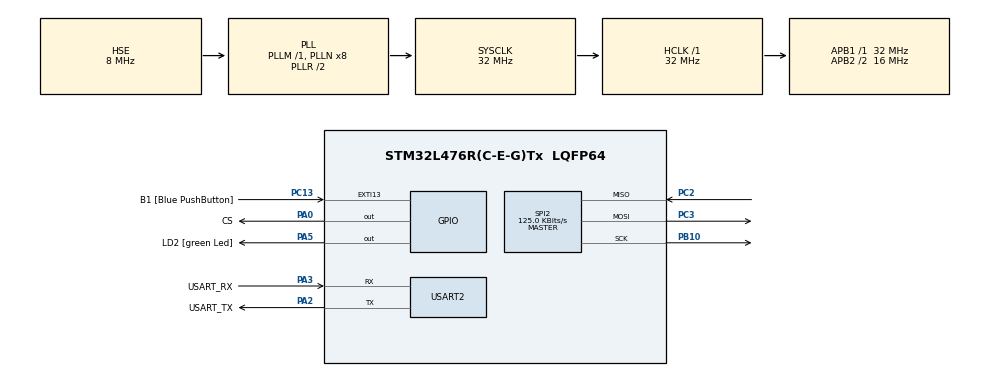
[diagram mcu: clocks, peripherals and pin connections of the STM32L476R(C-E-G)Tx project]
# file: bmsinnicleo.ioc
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Mcu.Family=STM32L4
Mcu.Name=STM32L476R(C-E-G)Tx
Mcu.Package=LQFP64
NVIC.PriorityGroup=NVIC_PRIORITYGROUP_4
NVIC.SPI2_IRQn=true\:0\:0\:false\:false\:true\:true\:true\:true
NVIC.TIM1_UP_TIM16_IRQn=true\:0\:0\:false\:false\:true\:true\:true\:true
NVIC.TIM7_IRQn=true\:0\:0\:false\:false\:true\:true\:true\:true
PA0.GPIO_Label=CS
PA0.Signal=GPIO_Output
PA13\ (JTMS-SWDIO).GPIO_Label=TMS
PA13\ (JTMS-SWDIO).Mode=Serial_Wire
PA13\ (JTMS-SWDIO).Signal=SYS_JTMS-SWDIO
PA14\ (JTCK-SWCLK).GPIO_Label=TCK
PA14\ (JTCK-SWCLK).Mode=Serial_Wire
PA14\ (JTCK-SWCLK).Signal=SYS_JTCK-SWCLK
PA2.GPIO_Label=USART_TX
PA2.GPIO_Mode=GPIO_MODE_AF_PP
PA2.GPIO_PuPd=GPIO_NOPULL
PA2.GPIO_Speed=GPIO_SPEED_FREQ_VERY_HIGH
PA2.Mode=Asynchronous
PA2.Signal=USART2_TX
PA3.GPIO_Label=USART_RX
PA3.GPIO_Mode=GPIO_MODE_AF_PP
PA3.GPIO_PuPd=GPIO_NOPULL
PA3.GPIO_Speed=GPIO_SPEED_FREQ_VERY_HIGH
PA3.Mode=Asynchronous
PA3.Signal=USART2_RX
PA5.GPIO_Label=LD2 [green Led]
PA5.GPIO_ModeDefaultOutputPP=GPIO_MODE_OUTPUT_PP
PA5.GPIO_PuPd=GPIO_NOPULL
PA5.GPIO_Speed=GPIO_SPEED_FREQ_LOW
PA5.Signal=GPIO_Output
PB10.Mode=Full_Duplex_Master
PB10.Signal=SPI2_SCK
PB3\ (JTDO-TRACESWO).GPIO_Label=SWO
PB3\ (JTDO-TRACESWO).Signal=SYS_JTDO-SWO
PC13.GPIO_Label=B1 [Blue PushButton]
PC13.GPIO_ModeDefaultEXTI=GPIO_MODE_IT_FALLING
PC13.GPIO_PuPd=GPIO_NOPULL
PC13.Signal=GPXTI13
PC14-OSC32_IN\ (PC14).Signal=RCC_OSC32_IN
PC15-OSC32_OUT\ (PC15).Signal=RCC_OSC32_OUT
PC2.Mode=Full_Duplex_Master
PC2.Signal=SPI2_MISO
PC3.Mode=Full_Duplex_Master
PC3.Signal=SPI2_MOSI
PH0-OSC_IN\ (PH0).Mode=HSE-External-Oscillator
PH0-OSC_IN\ (PH0).Signal=RCC_OSC_IN
PH1-OSC_OUT\ (PH1).Mode=HSE-External-Oscillator
PH1-OSC_OUT\ (PH1).Signal=RCC_OSC_OUT
ProjectManager.HeapSize=0x200
ProjectManager.StackSize=0x400
ProjectManager.TargetToolchain=STM32CubeIDE
RCC.ADCFreq_Value=32000000
RCC.AHBFreq_Value=32000000
RCC.APB1Freq_Value=32000000
RCC.APB1TimFreq_Value=32000000
RCC.APB2CLKDivider=RCC_HCLK_DIV2
RCC.APB2Freq_Value=16000000
RCC.APB2TimFreq_Value=32000000
RCC.CortexFreq_Value=32000000
RCC.HCLKFreq_Value=32000000
RCC.HSE_VALUE=8000000
RCC.HSI_VALUE=16000000
RCC.LSE_VALUE=32768
RCC.MSI_VALUE=4000000
RCC.PLLSourceVirtual=RCC_PLLSOURCE_HSE
RCC.PREFETCH_ENABLE=1
RCC.SYSCLKFreq_VALUE=32000000
RCC.SYSCLKSource=RCC_SYSCLKSOURCE_PLLCLK
RCC.USBFreq_Value=32000000
RCC.VCOOutputFreq_Value=64000000
SPI2.BaudRatePrescaler=SPI_BAUDRATEPRESCALER_256
SPI2.CLKPhase=SPI_PHASE_2EDGE
SPI2.CLKPolarity=SPI_POLARITY_HIGH
SPI2.CalculateBaudRate=125.0 KBits/s
SPI2.DataSize=SPI_DATASIZE_8BIT
SPI2.Direction=SPI_DIRECTION_2LINES
SPI2.Mode=SPI_MODE_MASTER
SPI2.VirtualType=VM_MASTER
TIM16.Period=4000-1
TIM16.Prescaler=31
TIM6.Prescaler=31
TIM7.Period=4000-1
TIM7.Prescaler=31
USART2.VirtualMode-Asynchronous=VM_ASYNC
VP_TIM16_VS_ClockSourceINT.Mode=Enable_Timer
VP_TIM6_VS_ClockSourceINT.Mode=Enable_Timer
VP_TIM7_VS_ClockSourceINT.Mode=Enable_Timer
board=NUCLEO-L476RG

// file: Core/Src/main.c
/* USER CODE BEGIN Header */
/**
  ******************************************************************************
  * @file           : main.c
  * @brief          : Main program body
  ******************************************************************************
  * @attention
  *
  * Copyright (c) 2025 STMicroelectronics.
  * All rights reserved.
  *
  * This software is licensed under terms that can be found in the LICENSE file
  * in the root directory of this software component.
  * If no LICENSE file comes with this software, it is provided AS-IS.
  *
  ******************************************************************************
  */
/* USER CODE END Header */
#include "main.h"

/* USER CODE BEGIN Includes */
#include "LTC6804.h"
/* USER CODE END Includes */

/* USER CODE BEGIN PD */
#define TOTAL_IC 1
/* USER CODE END PD */

SPI_HandleTypeDef hspi2;

TIM_HandleTypeDef htim6;
TIM_HandleTypeDef htim7;
TIM_HandleTypeDef htim16;

UART_HandleTypeDef huart2;

/* USER CODE BEGIN PV */

cell_asic bms_ic[TOTAL_IC];	//the cell_asic struct objects
//LTC CONFIGURATION VARIABLES
bool REFON = true; //!< Reference Powered Up Bit (true means Vref remains powered on between conversions)
bool ADCOPT = true; //!< ADC Mode option bit	(true chooses the second set of ADC frequencies)
bool gpioBits_a[5] = {false,false,false,false,false}; //!< GPIO Pin Control // Gpio 1,2,3,4,5 (false -> pull-down on)
bool dccBits_a[12] = {false,false,false,false,false,false,false,false,false,false,false,false}; //!< Discharge cell switch //Dcc 1,2,3,4,5,6,7,8,9,10,11,12 (all false -> no discharge enabled)
bool dctoBits[4] = {false, false, false, false}; //!< Discharge time value // Dcto 0,1,2,3	(all false -> discharge timer disabled)
float voltages[12];

// timer variables
uint8_t adc_on = 0;
uint8_t read_adc = 0;
/* USER CODE END PV */

void SystemClock_Config(void);
static void MX_GPIO_Init(void);
static void MX_USART2_UART_Init(void);
static void MX_SPI2_Init(void);
static void MX_TIM6_Init(void);
static void MX_TIM7_Init(void);
static void MX_TIM16_Init(void);
/* USER CODE BEGIN PFP */
void LTC6804_init(void);	//Initializes the LTC and the SPI communication
void HAL_TIM_PeriodElapsedCallback(TIM_HandleTypeDef *htim); //timer isr
/* USER CODE END PFP */

int main(void)
{

  /* MCU Configuration--------------------------------------------------------*/

  /* Reset of all peripherals, Initializes the Flash interface and the Systick. */
  HAL_Init();

  /* Configure the system clock */
  SystemClock_Config();

  /* Initialize all configured peripherals */
  MX_GPIO_Init();
  MX_USART2_UART_Init();
  MX_SPI2_Init();
  MX_TIM6_Init();
  MX_TIM7_Init();
  MX_TIM16_Init();
  /* USER CODE BEGIN 2 */
  HAL_TIM_Base_Start(&htim6);
  LTC6804_init();
  char msg[64];

  /* USER CODE END 2 */

  /* Infinite loop */
  /* USER CODE BEGIN WHILE */
  while (1)
  {
	  if(adc_on == 1){
		  wakeup_idle(TOTAL_IC);
		  LTC6804_adcv(MD_7KHZ_3KHZ, DCP_DISABLED, CELL_CH_ALL);
		  adc_on = 0;
	  }
	  if(read_adc == 1){
		  wakeup_idle(TOTAL_IC);
		  int error = LTC6804_rdcv(CELL_CH_ALL, TOTAL_IC, bms_ic);
		  for(int i=0;i<12;i++) {
		  		  voltages[i] = bms_ic[0].cells.c_codes[i] * 0.0001;
		  }
		  read_adc = 0;
	  }

	  sprintf(msg, "cell 1: %0.2f, cell 2: %0.2f, cell 3: %0.2f, "
	               "cell 4: %0.2f, cell 5: %0.2f, cell 6: %0.2f, "
	               "cell 7: %0.2f, cell 8: %0.2f, cell 9: %0.2f, "
	               "cell 10: %0.2f, cell 11: %0.2f, cell 12: %0.2f",
	          voltages[0], voltages[1], voltages[2],
	          voltages[3], voltages[4], voltages[5],
	          voltages[6], voltages[7], voltages[8],
	          voltages[9], voltages[10], voltages[11]);
	  HAL_UART_Transmit(&huart2, msg, strlen(msg), HAL_MAX_DELAY);
	  HAL_Delay(250);
	  /* USER CODE END WHILE */

  }
}

void SystemClock_Config(void)
{
  RCC_OscInitTypeDef RCC_OscInitStruct = {0};
  RCC_ClkInitTypeDef RCC_ClkInitStruct = {0};

  /** Configure the main internal regulator output voltage
  */
  if (HAL_PWREx_ControlVoltageScaling(PWR_REGULATOR_VOLTAGE_SCALE1) != HAL_OK)
  {
    Error_Handler();
  }

  /** Initializes the RCC Oscillators according to the specified parameters
  * in the RCC_OscInitTypeDef structure.
  */
  RCC_OscInitStruct.OscillatorType = RCC_OSCILLATORTYPE_HSE;
  RCC_OscInitStruct.HSEState = RCC_HSE_ON;
  RCC_OscInitStruct.PLL.PLLState = RCC_PLL_ON;
  RCC_OscInitStruct.PLL.PLLSource = RCC_PLLSOURCE_HSE;
  RCC_OscInitStruct.PLL.PLLM = 1;
  RCC_OscInitStruct.PLL.PLLN = 8;
  RCC_OscInitStruct.PLL.PLLP = RCC_PLLP_DIV7;
  RCC_OscInitStruct.PLL.PLLQ = RCC_PLLQ_DIV2;
  RCC_OscInitStruct.PLL.PLLR = RCC_PLLR_DIV2;
  if (HAL_RCC_OscConfig(&RCC_OscInitStruct) != HAL_OK)
  {
    Error_Handler();
  }

  /** Initializes the CPU, AHB and APB buses clocks
  */
  RCC_ClkInitStruct.ClockType = RCC_CLOCKTYPE_HCLK|RCC_CLOCKTYPE_SYSCLK
                              |RCC_CLOCKTYPE_PCLK1|RCC_CLOCKTYPE_PCLK2;
  RCC_ClkInitStruct.SYSCLKSource = RCC_SYSCLKSOURCE_PLLCLK;
  RCC_ClkInitStruct.AHBCLKDivider = RCC_SYSCLK_DIV1;
  RCC_ClkInitStruct.APB1CLKDivider = RCC_HCLK_DIV1;
  RCC_ClkInitStruct.APB2CLKDivider = RCC_HCLK_DIV2;

  if (HAL_RCC_ClockConfig(&RCC_ClkInitStruct, FLASH_LATENCY_1) != HAL_OK)
  {
    Error_Handler();
  }
}

static void MX_SPI2_Init(void)
{

  /* SPI2 parameter configuration*/
  hspi2.Instance = SPI2;
  hspi2.Init.Mode = SPI_MODE_MASTER;
  hspi2.Init.Direction = SPI_DIRECTION_2LINES;
  hspi2.Init.DataSize = SPI_DATASIZE_8BIT;
  hspi2.Init.CLKPolarity = SPI_POLARITY_HIGH;
  hspi2.Init.CLKPhase = SPI_PHASE_2EDGE;
  hspi2.Init.NSS = SPI_NSS_SOFT;
  hspi2.Init.BaudRatePrescaler = SPI_BAUDRATEPRESCALER_256;
  hspi2.Init.FirstBit = SPI_FIRSTBIT_MSB;
  hspi2.Init.TIMode = SPI_TIMODE_DISABLE;
  hspi2.Init.CRCCalculation = SPI_CRCCALCULATION_DISABLE;
  hspi2.Init.CRCPolynomial = 7;
  hspi2.Init.CRCLength = SPI_CRC_LENGTH_DATASIZE;
  hspi2.Init.NSSPMode = SPI_NSS_PULSE_DISABLE;
  if (HAL_SPI_Init(&hspi2) != HAL_OK)
  {
    Error_Handler();
  }

}

static void MX_TIM6_Init(void)
{

  TIM_MasterConfigTypeDef sMasterConfig = {0};

  htim6.Instance = TIM6;
  htim6.Init.Prescaler = 31;
  htim6.Init.CounterMode = TIM_COUNTERMODE_UP;
  htim6.Init.Period = 65535;
  htim6.Init.AutoReloadPreload = TIM_AUTORELOAD_PRELOAD_DISABLE;
  if (HAL_TIM_Base_Init(&htim6) != HAL_OK)
  {
    Error_Handler();
  }
  sMasterConfig.MasterOutputTrigger = TIM_TRGO_RESET;
  sMasterConfig.MasterSlaveMode = TIM_MASTERSLAVEMODE_DISABLE;
  if (HAL_TIMEx_MasterConfigSynchronization(&htim6, &sMasterConfig) != HAL_OK)
  {
    Error_Handler();
  }

}

static void MX_TIM7_Init(void)
{

  TIM_MasterConfigTypeDef sMasterConfig = {0};

  htim7.Instance = TIM7;
  htim7.Init.Prescaler = 31;
  htim7.Init.CounterMode = TIM_COUNTERMODE_UP;
  htim7.Init.Period = 4000-1;
  htim7.Init.AutoReloadPreload = TIM_AUTORELOAD_PRELOAD_DISABLE;
  if (HAL_TIM_Base_Init(&htim7) != HAL_OK)
  {
    Error_Handler();
  }
  sMasterConfig.MasterOutputTrigger = TIM_TRGO_RESET;
  sMasterConfig.MasterSlaveMode = TIM_MASTERSLAVEMODE_DISABLE;
  if (HAL_TIMEx_MasterConfigSynchronization(&htim7, &sMasterConfig) != HAL_OK)
  {
    Error_Handler();
  }

}

static void MX_TIM16_Init(void)
{

  htim16.Instance = TIM16;
  htim16.Init.Prescaler = 31;
  htim16.Init.CounterMode = TIM_COUNTERMODE_UP;
  htim16.Init.Period = 4000-1;
  htim16.Init.ClockDivision = TIM_CLOCKDIVISION_DIV1;
  htim16.Init.RepetitionCounter = 0;
  htim16.Init.AutoReloadPreload = TIM_AUTORELOAD_PRELOAD_DISABLE;
  if (HAL_TIM_Base_Init(&htim16) != HAL_OK)
  {
    Error_Handler();
  }

}

static void MX_USART2_UART_Init(void)
{

  huart2.Instance = USART2;
  huart2.Init.BaudRate = 115200;
  huart2.Init.WordLength = UART_WORDLENGTH_8B;
  huart2.Init.StopBits = UART_STOPBITS_1;
  huart2.Init.Parity = UART_PARITY_NONE;
  huart2.Init.Mode = UART_MODE_TX_RX;
  huart2.Init.HwFlowCtl = UART_HWCONTROL_NONE;
  huart2.Init.OverSampling = UART_OVERSAMPLING_16;
  huart2.Init.OneBitSampling = UART_ONE_BIT_SAMPLE_DISABLE;
  huart2.AdvancedInit.AdvFeatureInit = UART_ADVFEATURE_NO_INIT;
  if (HAL_UART_Init(&huart2) != HAL_OK)
  {
    Error_Handler();
  }

}

static void MX_GPIO_Init(void)
{
  GPIO_InitTypeDef GPIO_InitStruct = {0};

  /* GPIO Ports Clock Enable */
  __HAL_RCC_GPIOC_CLK_ENABLE();
  __HAL_RCC_GPIOH_CLK_ENABLE();
  __HAL_RCC_GPIOA_CLK_ENABLE();
  __HAL_RCC_GPIOB_CLK_ENABLE();

  /*Configure GPIO pin Output Level */
  HAL_GPIO_WritePin(GPIOA, CS_Pin|LD2_Pin, GPIO_PIN_RESET);

  /*Configure GPIO pin : B1_Pin */
  GPIO_InitStruct.Pin = B1_Pin;
  GPIO_InitStruct.Mode = GPIO_MODE_IT_FALLING;
  GPIO_InitStruct.Pull = GPIO_NOPULL;
  HAL_GPIO_Init(B1_GPIO_Port, &GPIO_InitStruct);

  /*Configure GPIO pins : CS_Pin LD2_Pin */
  GPIO_InitStruct.Pin = CS_Pin|LD2_Pin;
  GPIO_InitStruct.Mode = GPIO_MODE_OUTPUT_PP;
  GPIO_InitStruct.Pull = GPIO_NOPULL;
  GPIO_InitStruct.Speed = GPIO_SPEED_FREQ_LOW;
  HAL_GPIO_Init(GPIOA, &GPIO_InitStruct);

}

/* USER CODE BEGIN 4 */
void LTC6804_init(){
	LTC6804_init_cfg(TOTAL_IC, bms_ic);	//Initializes the confiugration registers to all 0s
	//This for loop initializes the configuration register variables
	for (uint8_t current_ic = 0; current_ic<TOTAL_IC;current_ic++) {
		LTC6804_set_cfgr(current_ic,bms_ic,REFON,ADCOPT,gpioBits_a,dccBits_a);
	}
	LTC6804_reset_crc_count(TOTAL_IC,bms_ic);	//sets the CRC count to 0
	LTC6804_init_reg_limits(TOTAL_IC, bms_ic);	//Initializes the LTC's register limits for LTC6811 (because the generic LTC681x libraries can also be used for LTC6813 and others)
	wakeup_sleep(TOTAL_IC);
	LTC6804_wrcfg(TOTAL_IC,bms_ic);	//writes the configuration variables in the configuration registers via SPI
}

void HAL_TIM_PeriodElapsedCallback(TIM_HandleTypeDef *htim){
	if(htim->Instance == TIM7){
		adc_on = 1;
	}
	if(htim->Instance == TIM16){
		read_adc = 1;
	}
}
/* USER CODE END 4 */

void Error_Handler(void)
{
  __disable_irq();
  while (1)
  {
  }
}
